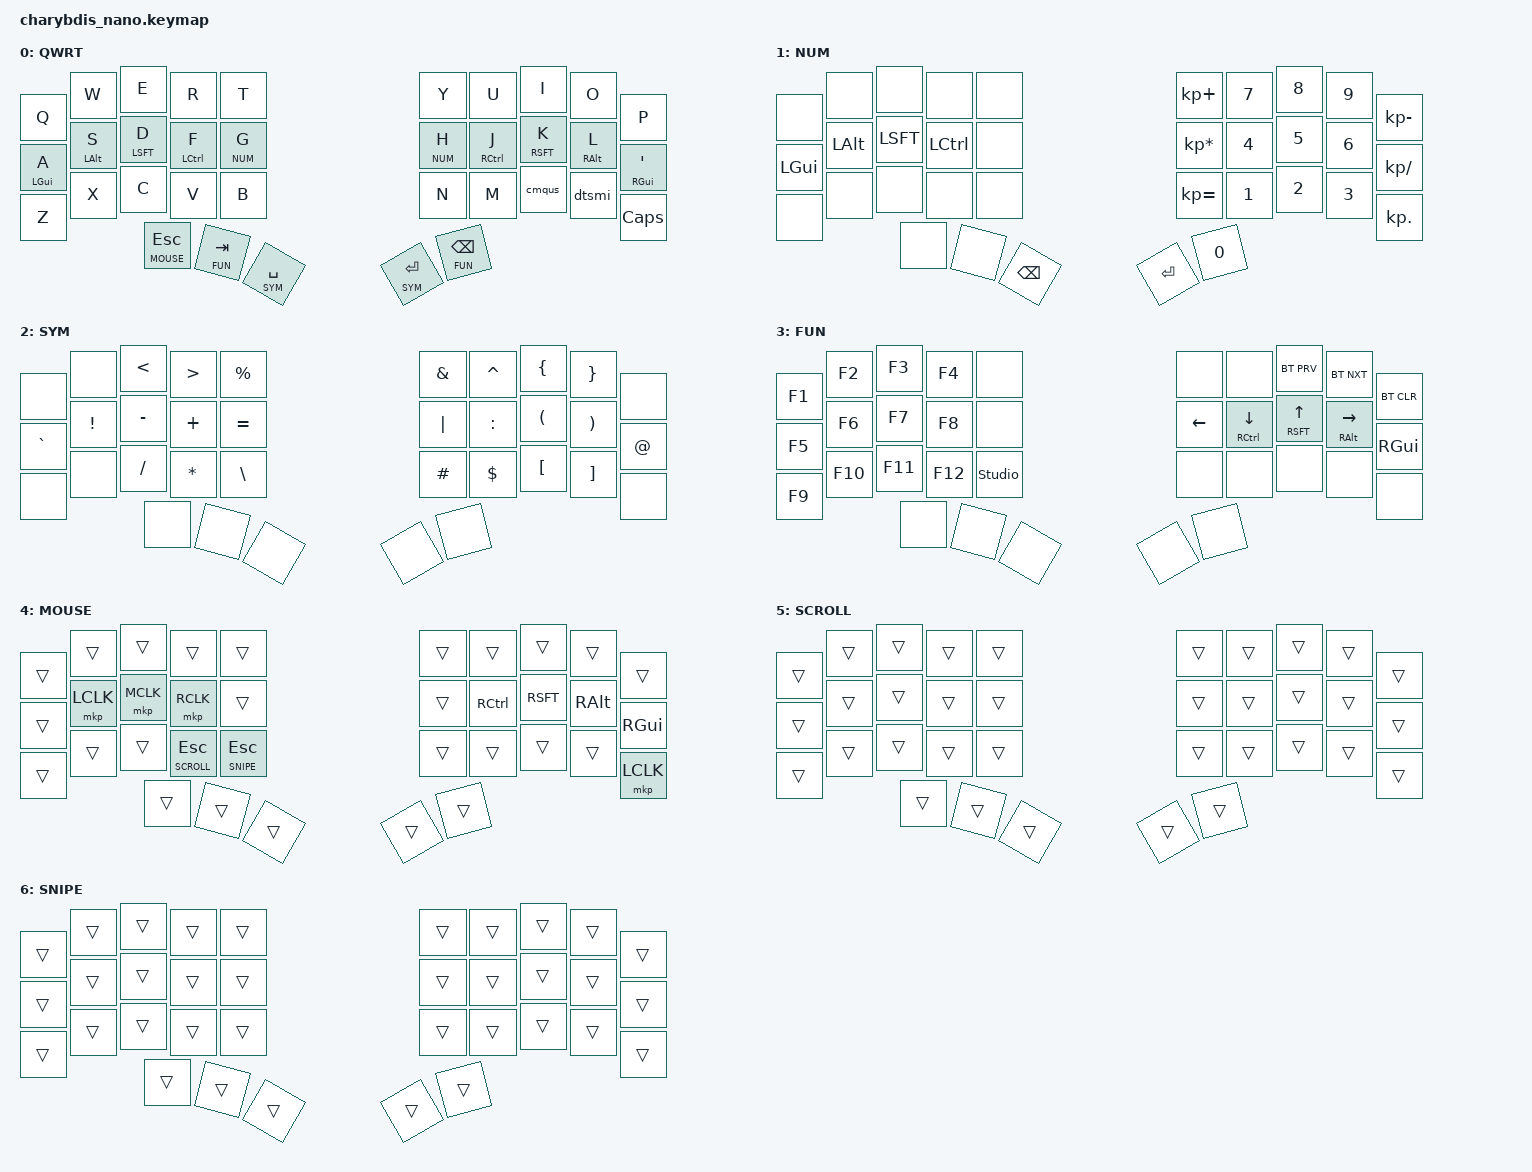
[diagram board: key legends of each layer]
#define DEFAULT 0
#define NUM     1
#define SYM     2
#define FUN     3
#define MOUSE   4
#define SCROLL  5
#define SNIPE   6

#include <behaviors.dtsi>
#include <behaviors/mouse_keys.dtsi>
#include <dt-bindings/zmk/mouse.h>
#include <dt-bindings/zmk/keys.h>
#include <dt-bindings/zmk/bt.h>
#include <dt-bindings/zmk/outputs.h>

&lt {
    tapping-term-ms = <240>;
    flavor = "balanced";
    quick-tap-ms = <150>;
};

&mt {
    tapping-term-ms = <200>;
    flavor = "tap-preferred";
    quick-tap-ms = <150>;
};

&caps_word {
    continue-list = <UNDERSCORE MINUS>;
};

/ {
    // macros
    macros {
      ZMK_MACRO(nxt_tab,
        wait-ms = <0>;
        tap-ms  = <10>;
        bindings = <&kp LC(TAB)>;
      )

      ZMK_MACRO(prv_tab,
        wait-ms = <0>;
        tap-ms  = <10>;
        bindings = <&kp LC(LS(TAB))>;
      )

      ZMK_MACRO(double_shift,
        wait-ms = <0>;
        tap-ms  = <10>;
        bindings = <&kp LSHIFT &kp LSHIFT>;
      )

      ZMK_MACRO(amos,
        wait-ms = <0>;
        tap-ms = <10>;
        bindings = <&kp LS(A) &kp M &kp O &kp S>
        , <&kp N6 &kp N9 &kp N8>;
      )
    };
    
    // custom shift using mod-morph 
    behaviors {
      cmqus: comma_question {
        compatible = "zmk,behavior-mod-morph";
        label = "COMMA_QUESTION";
        #binding-cells = <0>;
        bindings = <&kp COMMA>, <&kp QUESTION>;
        mods = <(MOD_LSFT|MOD_RSFT)>;
      };

      dtsmi: dot_semi {
        compatible = "zmk,behavior-mod-morph";
        label = "DOT_SEMI";
        #binding-cells = <0>;
        bindings = <&kp DOT>, <&kp SEMI>;
        mods = <(MOD_LSFT|MOD_RSFT)>;
      };
    };

    // combos
    combos {
        compatible = "zmk,combos";
        // right hand 
        combo_resc {
            timeout-ms = <50>;
            key-positions = <33 34>;
            bindings = <&kp ESC>;
        };

        combo_rdelete {
            timeout-ms = <50>;
            key-positions = <15 16>;
            bindings = <&kp DELETE>;
        };
 
        // left hand
        combo_lesc {
            timeout-ms = <50>;
            key-positions = <31 32>;
            bindings = <&kp ESC>;
        };

        combo_dblshft {
            timeout-ms = <50>;
            key-positions = <20 21>;
            bindings = <&double_shift>;
        };

        combo_pgdn {
            timeout-ms = <50>;
            key-positions = <23 24>;
            bindings = <&kp PG_DN>;
        };
 
        combo_pgup {
            timeout-ms = <50>;
            key-positions = <3 4>;
            bindings = <&kp PG_UP>;
        };

        combo_ldelete {
            timeout-ms = <50>;
            key-positions = <13 14>;
            bindings = <&kp DELETE>;
        };

        // symbols
        combo_underscore {
            timeout-ms = <50>;
            key-positions = <11 12>;
            bindings = <&kp UNDERSCORE>;
        };

        combo_minus {
            timeout-ms = <50>;
            key-positions = <12 13>;
            bindings = <&kp MINUS>;
        };

        // toggles
        combo_lsym {
            timeout-ms = <50>;
            key-positions = <31 33>;
            bindings = <&tog SYM>;
        };

        combo_lnum {
            timeout-ms = <50>;
            key-positions = <31 34>;
            bindings = <&tog NUM>;
        };

        combo_capsword {
            timeout-ms = <50>;
            key-positions = <2 7>;
            bindings = <&caps_word>;
        };

        combo_lclk {
            timeout-ms = <50>;
            key-positions = <26 27>;
            bindings = <&mkp LCLK>;
        };

        combo_rclk {
            timeout-ms = <50>;
            key-positions = <27 28>;
            bindings = <&mkp RCLK>;
        };

        // output selection
        combo_outble {
            timeout-ms = <50>;
            key-positions = <9 29>;
            bindings = <&out OUT_BLE>;
        };

        combo_outtog {
            timeout-ms = <50>;
            key-positions = <8 28>;
            bindings = <&out OUT_TOG>;
        };

        // ble selection
        combo_ble1 {
            timeout-ms = <50>;
            key-positions = <4 24>;
            bindings = <&bt BT_SEL 0>;
        };

        combo_ble2 {
            timeout-ms = <50>;
            key-positions = <3 23>;
            bindings = <&bt BT_SEL 1>;
        };

        combo_ble3 {
            timeout-ms = <50>;
            key-positions = <2 22>;
            bindings = <&bt BT_SEL 2>;
        };

        combo_ble4 {
            timeout-ms = <50>;
            key-positions = <1 21>;
            bindings = <&bt BT_SEL 3>;
        };

        combo_ble5 {
            timeout-ms = <50>;
            key-positions = <0 20>;
            bindings = <&bt BT_SEL 4>;
        };

        combo_left_reset {
            timeout-ms = <50>;
            key-positions = <2 3 4>;
            bindings = <&sys_reset>;
        };

        combo_right_reset {
            timeout-ms = <50>;
            key-positions = <5 6 7>;
            bindings = <&sys_reset>;
        };

        combo_left_bootloader {
            timeout-ms = <50>;
            key-positions = <1 2 3 4>;
            bindings = <&bootloader>;
        };
        
        combo_right_bootloader {
            timeout-ms = <50>;
            key-positions = <5 6 7 8>;
            bindings = <&bootloader>;
        };
    };

    keymap {
        compatible = "zmk,keymap";

        default_layer {
            label = "QWRT";
            bindings = <
            	&kp Q           &kp W           &kp E           &kp R           &kp T           &kp Y           &kp U           &kp I           &kp O           &kp P
             	&mt LGUI A      &mt LALT S      &mt LSFT D      &mt LCTL F      &lt NUM G       &lt NUM H       &mt RCTL J      &mt RSFT K      &mt RALT L      &mt RGUI SQT 
                &kp Z           &kp X           &kp C           &kp V           &kp B           &kp N           &kp M           &cmqus          &dtsmi          &kp CAPS
                                                &lt MOUSE ESC   &lt FUN TAB     &lt SYM SPACE   &lt SYM RET     &lt FUN BSPC
             	>;
        };

        number_layer {
            label = "NUM";
            bindings = <
                &none           &none           &none           &none           &none           &kp KP_PLUS     &kp N7          &kp N8          &kp N9          &kp KP_MINUS
                &kp LGUI        &kp LALT        &kp LSFT        &kp LCTL        &none           &kp KP_MULTIPLY &kp N4          &kp N5          &kp N6          &kp KP_DIVIDE
                &none           &none           &none           &none           &none           &kp KP_EQUAL    &kp N1          &kp N2          &kp N3          &kp KP_DOT
                                                &none           &none           &kp BSPC        &kp RET         &kp N0
            >;
        };

        symbol_layer {
            label = "SYM";
            bindings = <
                &none           &none           &kp LT          &kp GT          &kp PRCNT       &kp AMPS        &kp CARET       &kp LBRC        &kp RBRC        &none
                &kp GRAVE       &kp EXCL        &kp MINUS       &kp PLUS        &kp EQUAL       &kp PIPE        &kp COLON       &kp LPAR        &kp RPAR        &kp AT
                &none           &none           &kp SLASH       &kp STAR        &kp BSLH        &kp HASH        &kp DLLR        &kp LBKT        &kp RBKT        &none  
                                                &none           &none           &none           &none           &none
            >;
        };

        function_layer {
            label = "FUN";
            bindings = <
                &kp F1           &kp F2         &kp F3          &kp F4          &none           &none           &none           &bt BT_PRV      &bt BT_NXT      &bt BT_CLR 
                &kp F5           &kp F6         &kp F7          &kp F8          &none           &kp LEFT        &mt RCTL DOWN   &mt RSFT UP     &mt RALT RIGHT  &kp RGUI
                &kp F9           &kp F10        &kp F11         &kp F12         &studio_unlock  &none           &none           &none           &none           &none
                                                &none           &none           &none           &none           &none
            >;
        };

        mouse_layer {
            label = "MOUSE";
            bindings = <
                &trans           &trans           &trans           &trans            &trans          &trans          &trans          &trans          &trans          &trans
                &trans           &mkp LCLK        &mkp MCLK        &mkp RCLK         &trans          &trans          &kp RCTL        &kp RSFT        &kp RALT        &kp RGUI
                &trans           &trans           &trans           &lt SCROLL ESC    &lt SNIPE ESC   &trans          &trans          &trans          &trans          &mkp LCLK
                                                  &trans           &trans            &trans          &trans          &trans
            >;
        };

        scroll_layer {
            label = "SCROLL";
            bindings = <
                &trans           &trans           &trans           &trans            &trans          &trans          &trans          &trans          &trans          &trans
                &trans           &trans           &trans           &trans            &trans          &trans          &trans          &trans          &trans          &trans
                &trans           &trans           &trans           &trans            &trans          &trans          &trans          &trans          &trans          &trans
                                                  &trans           &trans            &trans          &trans          &trans
            >;
        };

        snipe_layer {
            label = "SNIPE";
            bindings = <
                &trans           &trans           &trans           &trans            &trans          &trans          &trans          &trans          &trans          &trans
                &trans           &trans           &trans           &trans            &trans          &trans          &trans          &trans          &trans          &trans
                &trans           &trans           &trans           &trans            &trans          &trans          &trans          &trans          &trans          &trans
                                                  &trans           &trans            &trans          &trans          &trans
            >;
        };
    };
};
